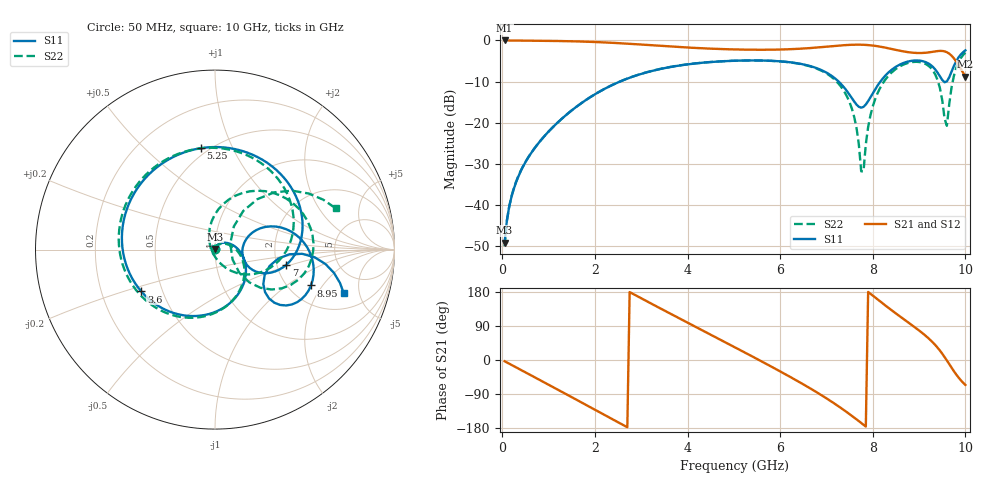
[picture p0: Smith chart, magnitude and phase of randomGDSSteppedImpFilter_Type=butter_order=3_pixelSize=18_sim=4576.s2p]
! freq	dB(S11)	phase(S11)	dB(S12)	phase(S12)
!  dB(S21)	phase(S21)	dB(S22)	phase(S22)
!S-par simulation data
#  GHz  S  DB  R 50
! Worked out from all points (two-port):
!   200 points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, 50 MHz to 10 GHz, reference 50 ohm
!   highest |S21| = 0.00 dB at 50 MHz (marker M1); lowest = -8.8 dB at 10 GHz (marker M2)
!   |S21| within 3 dB of the highest: start of sweep to 8.886 GHz; 9.126 GHz to 9.622 GHz (495.6 MHz wide, 5.29 % of centre)
!   lowest |S11| = -49.1 dB at 50 MHz (marker M3), VSWR 1.01, Z = 50.1 + j0.345 ohm
!   |S11| at or under -10 dB: start of sweep to 2.54 GHz; 7.262 GHz to 8.165 GHz (902.5 MHz wide, 11.7 % of centre); 9.536 GHz to 9.59 GHz (54.07 MHz wide, 0.565 % of centre)
!   |S22| runs from -50.0 to -3.0 dB; largest |S21 - S12| = 0
!   S11 on the Smith chart (normalised r, x): 50 MHz: 1.00, +0.01; 3.6 GHz: 0.38, -0.23; 5.25 GHz: 0.45, +0.76; 7 GHz: 2.26, -0.46; 8.95 GHz: 2.63, -1.56; 10 GHz: 3.07, -3.50
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0.05  -49.13 80.5  -0.00 -3.3  -0.00 -3.3  -50.01 69.9
0.2  -37.95 74.4  -0.03 -13.1  -0.03 -13.1  -37.82 73.0
0.45  -30.62 61.9  -0.05 -29.3  -0.05 -29.3  -30.53 57.9
1.15  -20.43 18.2  -0.13 -75.1  -0.13 -75.1  -20.45 11.7
1.75  -14.91 -22.2  -0.28 -114.7  -0.28 -114.7  -14.91 -27.1
2.55  -9.95 -77.8  -0.68 -167.6  -0.68 -167.6  -9.93 -77.8
3.4  -6.97 -136.7  -1.30 137.0  -1.30 137.0  -6.94 -129.7
3.6  -6.52 -150.4  -1.45 124.1  -1.45 124.1  -6.49 -141.6
5.05  -4.93 111.4  -2.20 31.8  -2.20 31.8  -4.91 132.4
5.25  -4.87 98.1  -2.24 19.0  -2.24 19.0  -4.87 120.2
5.95  -5.03 52.4  -2.22 -26.7  -2.22 -26.7  -5.06 75.5
6.7  -6.40 5.5  -1.81 -78.6  -1.81 -78.6  -6.49 22.6
7  -7.82 -12.0  -1.52 -101.1  -1.52 -101.1  -8.02 -1.0
7.55  -14.04 -25.9  -1.05 -147.5  -1.05 -147.5  -16.64 -53.1
7.75  -16.34 -2.8  -1.04 -166.1  -1.04 -166.1  -31.81 -114.5
8  -12.84 24.4  -1.24 169.9  -1.24 169.9  -16.03 96.9
8.35  -7.68 16.0  -1.93 136.6  -1.93 136.6  -8.44 59.2
8.95  -4.87 -20.5  -3.05 82.5  -3.05 82.5  -5.20 3.8
9.35  -7.07 -41.9  -2.66 39.4  -2.66 39.4  -8.30 -35.3
9.6  -9.96 -16.7  -2.86 -1.2  -2.86 -1.2  -20.75 21.8
9.75  -6.26 -2.8  -4.33 -29.2  -4.33 -29.2  -8.69 49.9
10  -2.41 -18.7  -8.83 -65.8  -8.83 -65.8  -2.98 18.9
